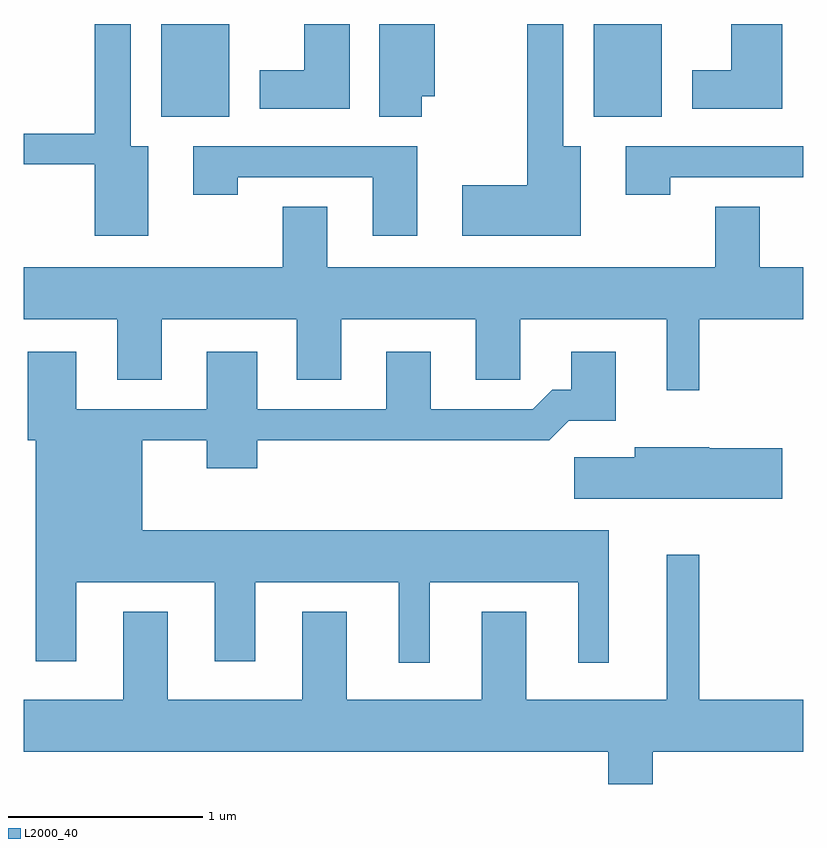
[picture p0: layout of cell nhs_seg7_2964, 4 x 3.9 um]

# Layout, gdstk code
import gdstk
lib = gdstk.Library(unit=1e-6, precision=1e-09)
def R(c, l, rs):  # rectangles x0, y0, x1, y1
    for r in rs: c.add(gdstk.rectangle(r[:2], r[2:], *l))
def P(c, l, *ps):  # polygons
    for p in ps: c.add(gdstk.Polygon(p, *l))
L2000_40 = (2000, 40)

nhs_seg7_2964 = lib.new_cell('nhs_seg7_2964')
R(nhs_seg7_2964, L2000_40, [(276.316,1739.776,276.664,1740.252), (278.536,1739.776,278.884,1740.252)])
P(nhs_seg7_2964, L2000_40, [(279.504,1740.252),(279.241,1740.252),(279.241,1740.014),(279.041,1740.014),(279.041,1739.816),(279.504,1739.816)],
  [(277.284,1740.252),(277.051,1740.252),(277.051,1740.014),(276.821,1740.014),(276.821,1739.816),(277.284,1739.816)],
  [(276.249,1739.624),(276.159,1739.624),(276.159,1740.252),(275.976,1740.252),(275.976,1739.689),(275.611,1739.689),(275.611,1739.531),(275.976,1739.531),(275.976,1739.166),(276.249,1739.166)],
  [(278.469,1739.624),(278.379,1739.624),(278.379,1740.252),(278.196,1740.252),(278.196,1739.424),(277.861,1739.424),(277.861,1739.166),(278.469,1739.166)],
  [(277.654,1739.881),(277.719,1739.881),(277.719,1740.252),(277.436,1740.252),(277.436,1739.776),(277.654,1739.776)],
  [(278.929,1739.466),(279.611,1739.466),(279.611,1739.624),(278.701,1739.624),(278.701,1739.376),(278.929,1739.376)],
  [(277.629,1739.624),(276.481,1739.624),(276.481,1739.376),(276.709,1739.376),(276.709,1739.466),(277.401,1739.466),(277.401,1739.166),(277.629,1739.166)],
  [(275.611,1738.736),(276.091,1738.736),(276.091,1738.426),(276.319,1738.426),(276.319,1738.736),(277.011,1738.736),(277.011,1738.426),(277.239,1738.426),(277.239,1738.736),(277.931,1738.736),(277.931,1738.426),(278.159,1738.426),(278.159,1738.736),(278.911,1738.736),(278.911,1738.373),(279.079,1738.373),(279.079,1738.736),(279.611,1738.736),(279.611,1739.004),(279.389,1739.004),(279.389,1739.314),(279.161,1739.314),(279.161,1739.004),(277.169,1739.004),(277.169,1739.314),(276.941,1739.314),(276.941,1739.004),(275.611,1739.004)],
  [(277.694,1737.386),(278.456,1737.386),(278.456,1736.973),(278.614,1736.973),(278.614,1737.654),(276.219,1737.654),(276.219,1738.116),(276.551,1738.116),(276.551,1737.971),(276.809,1737.971),(276.809,1738.116),(278.307,1738.116),(278.407,1738.216),(278.649,1738.216),(278.649,1738.569),(278.421,1738.569),(278.421,1738.374),(278.324,1738.374),(278.224,1738.274),(277.699,1738.274),(277.699,1738.569),(277.471,1738.569),(277.471,1738.274),(276.809,1738.274),(276.809,1738.569),(276.551,1738.569),(276.551,1738.274),(275.879,1738.274),(275.879,1738.569),(275.631,1738.569),(275.631,1738.116),(275.671,1738.116),(275.671,1736.981),(275.879,1736.981),(275.879,1737.386),(276.591,1737.386),(276.591,1736.981),(276.799,1736.981),(276.799,1737.386),(277.536,1737.386),(277.536,1736.973),(277.694,1736.973)],
  [(279.504,1738.074),(279.13,1738.074),(279.13,1738.079),(278.746,1738.079),(278.746,1738.029),(278.436,1738.029),(278.436,1737.816),(279.504,1737.816)],
  [(278.839,1736.516),(279.611,1736.516),(279.611,1736.784),(279.079,1736.784),(279.079,1737.528),(278.911,1737.528),(278.911,1736.784),(278.189,1736.784),(278.189,1737.234),(277.961,1737.234),(277.961,1736.784),(277.269,1736.784),(277.269,1737.234),(277.041,1737.234),(277.041,1736.784),(276.349,1736.784),(276.349,1737.234),(276.121,1737.234),(276.121,1736.784),(275.611,1736.784),(275.611,1736.516),(278.611,1736.516),(278.611,1736.351),(278.839,1736.351)])

lib.write_gds('nhs_seg7_2964.gds')
